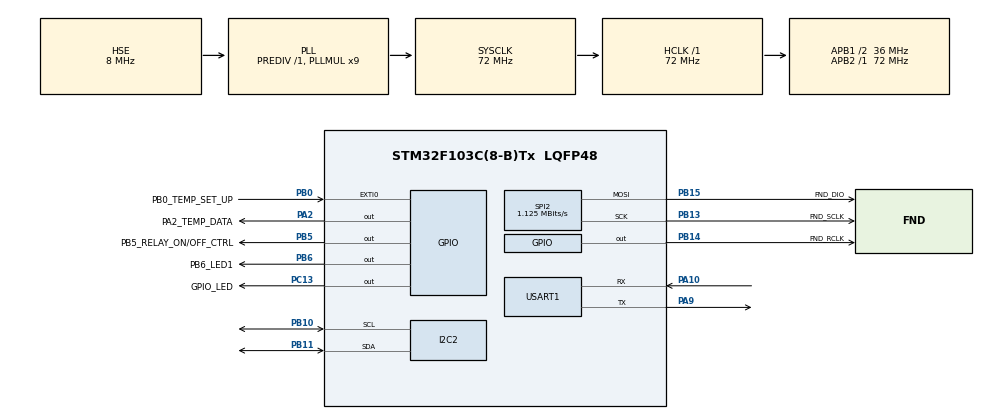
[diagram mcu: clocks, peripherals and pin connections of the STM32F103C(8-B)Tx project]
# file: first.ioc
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I2C2.DualAddressMode=I2C_DUALADDRESS_DISABLE
I2C2.I2C_Mode=I2C_Fast
I2C2.OwnAddress=0
Mcu.Family=STM32F1
Mcu.Name=STM32F103C(8-B)Tx
Mcu.Package=LQFP48
NVIC.EXTI0_IRQn=true\:3\:0\:true\:false\:true\:true\:true\:true
NVIC.PriorityGroup=NVIC_PRIORITYGROUP_4
NVIC.TIM2_IRQn=true\:0\:0\:false\:false\:true\:true\:true\:true
NVIC.TIM3_IRQn=true\:10\:0\:true\:false\:true\:true\:true\:true
PA10.Mode=Asynchronous
PA10.Signal=USART1_RX
PA2.GPIO_Label=PA2_TEMP_DATA
PA2.GPIO_PuPd=GPIO_PULLUP
PA2.GPIO_Speed=GPIO_SPEED_FREQ_HIGH
PA2.PinState=GPIO_PIN_SET
PA2.Signal=GPIO_Output
PA9.Mode=Asynchronous
PA9.Signal=USART1_TX
PB0.GPIO_Label=PB0_TEMP_SET_UP
PB0.GPIO_ModeDefaultEXTI=GPIO_MODE_IT_FALLING
PB0.GPIO_PuPd=GPIO_PULLUP
PB0.Signal=GPXTI0
PB10.Mode=I2C
PB10.Signal=I2C2_SCL
PB11.Mode=I2C
PB11.Signal=I2C2_SDA
PB13.GPIO_Label=FND_SCLK
PB13.Mode=TX_Only_Simplex_Unidirect_Master
PB13.Signal=SPI2_SCK
PB14.GPIO_Label=FND_RCLK
PB14.GPIO_PuPd=GPIO_PULLUP
PB14.GPIO_Speed=GPIO_SPEED_FREQ_HIGH
PB14.PinState=GPIO_PIN_SET
PB14.Signal=GPIO_Output
PB15.GPIO_Label=FND_DIO
PB15.Mode=TX_Only_Simplex_Unidirect_Master
PB15.Signal=SPI2_MOSI
PB5.GPIO_Label=PB5_RELAY_ON/OFF_CTRL
PB5.GPIO_PuPd=GPIO_PULLUP
PB5.GPIO_Speed=GPIO_SPEED_FREQ_HIGH
PB5.PinState=GPIO_PIN_SET
PB5.Signal=GPIO_Output
PB6.GPIO_Label=PB6_LED1
PB6.GPIO_Speed=GPIO_SPEED_FREQ_HIGH
PB6.PinState=GPIO_PIN_SET
PB6.Signal=GPIO_Output
PC13-TAMPER-RTC.GPIO_Label=GPIO_LED
PC13-TAMPER-RTC.GPIO_PuPd=GPIO_PULLDOWN
PC13-TAMPER-RTC.GPIO_Speed=GPIO_SPEED_FREQ_HIGH
PC13-TAMPER-RTC.PinState=GPIO_PIN_SET
PC13-TAMPER-RTC.Signal=GPIO_Output
PC14-OSC32_IN.Mode=LSE-External-Oscillator
PC14-OSC32_IN.Signal=RCC_OSC32_IN
PC15-OSC32_OUT.Mode=LSE-External-Oscillator
PC15-OSC32_OUT.Signal=RCC_OSC32_OUT
PD0-OSC_IN.Mode=HSE-External-Oscillator
PD0-OSC_IN.Signal=RCC_OSC_IN
PD1-OSC_OUT.Mode=HSE-External-Oscillator
PD1-OSC_OUT.Signal=RCC_OSC_OUT
ProjectManager.HeapSize=0x200
ProjectManager.StackSize=0x400
ProjectManager.TargetToolchain=STM32CubeIDE
RCC.AHBFreq_Value=72000000
RCC.APB1CLKDivider=RCC_HCLK_DIV2
RCC.APB1Freq_Value=36000000
RCC.APB1TimFreq_Value=72000000
RCC.APB2Freq_Value=72000000
RCC.APB2TimFreq_Value=72000000
RCC.HCLKFreq_Value=72000000
RCC.PLLMUL=RCC_PLL_MUL9
RCC.PLLSourceVirtual=RCC_PLLSOURCE_HSE
RCC.SYSCLKFreq_VALUE=72000000
RCC.SYSCLKSource=RCC_SYSCLKSOURCE_PLLCLK
RCC.USBFreq_Value=72000000
SPI2.BaudRatePrescaler=SPI_BAUDRATEPRESCALER_32
SPI2.CLKPhase=SPI_PHASE_2EDGE
SPI2.CLKPolarity=SPI_POLARITY_HIGH
SPI2.CalculateBaudRate=1.125 MBits/s
SPI2.Direction=SPI_DIRECTION_2LINES
SPI2.Mode=SPI_MODE_MASTER
SPI2.VirtualType=VM_MASTER
TIM2.AutoReloadPreload=TIM_AUTORELOAD_PRELOAD_DISABLE
TIM2.Period=65535
TIM2.Prescaler=(72-1)
TIM3.Period=50-1
TIM3.Prescaler=72-1
USART1.VirtualMode=VM_ASYNC
VP_TIM2_VS_ClockSourceINT.Mode=Internal
VP_TIM3_VS_ClockSourceINT.Mode=Internal
board=custom

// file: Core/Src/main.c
/* USER CODE BEGIN Header */
/**
  ******************************************************************************
  * @file           : main.c
  * @brief          : Main program body
  ******************************************************************************
  * @attention
  *
  * Copyright (c) 2023 STMicroelectronics.
  * All rights reserved.
  *
  * This software is licensed under terms that can be found in the LICENSE file
  * in the root directory of this software component.
  * If no LICENSE file comes with this software, it is provided AS-IS.
  *
  ******************************************************************************
  */
/* USER CODE END Header */
#include "main.h"

/* USER CODE BEGIN Includes */
#include <stdio.h>
#include "fnd_controller.h"
#include "ds18b20.h"
#include "heaterController.h"
#include "fonts.h"
#include "ssd1306.h"
#include "test.h"
#include "bitmap.h"
#include "horse_anim.h"
#include "g_var.h"
#include "OledController.h"
/* USER CODE END Includes */

/* USER CODE BEGIN PTD */
#include <stdio.h>

/* USER CODE END PTD */

I2C_HandleTypeDef hi2c2;

SPI_HandleTypeDef hspi2;

TIM_HandleTypeDef htim2;
TIM_HandleTypeDef htim3;

UART_HandleTypeDef huart1;

/* USER CODE BEGIN PV */
int _write(int file,char * p, int len){
	HAL_UART_Transmit(&huart1, (uint8_t *)p, len, 10);
	return len;
}

/* USER CODE END PV */

void SystemClock_Config(void);
static void MX_GPIO_Init(void);
static void MX_USART1_UART_Init(void);
static void MX_TIM2_Init(void);
static void MX_TIM3_Init(void);
static void MX_I2C2_Init(void);
static void MX_SPI2_Init(void);

int main(void)
{
  /* USER CODE BEGIN 1 */

	float temper  =0.0;
  /* USER CODE END 1 */

  /* MCU Configuration--------------------------------------------------------*/

  /* Reset of all peripherals, Initializes the Flash interface and the Systick. */
  HAL_Init();

  /* Configure the system clock */
  SystemClock_Config();

  /* Initialize all configured peripherals */
  MX_GPIO_Init();
  MX_USART1_UART_Init();
  MX_TIM2_Init();
  MX_TIM3_Init();
  MX_I2C2_Init();
  MX_SPI2_Init();
  /* USER CODE BEGIN 2 */
  //HAL_TIM_Base_Start_IT(&htim2);
  init_fnd(&hspi2);
  HAL_TIM_Base_Start_IT(&htim3);
  //Ds18b20_Init();
  Ds18b20_Init_Simple();
  SSD1306_Init();

  opening();

  /* USER CODE END 2 */

  /* Infinite loop */
  /* USER CODE BEGIN WHILE */
  //PC13 set/reset register address
  /*
  volatile unsigned int * reg3 = 0x40011010;
  char senddata[20] = "Hello World\r\n";
  */
  while (1)
  {

	  checkButton();

	  if(!isConverting()){
	  StartConverting();
	  }
	  checkConverting();

	  if(!isConverting()){
		  temper = getTemper();
	  }

	  HAL_Delay(10);

    /* USER CODE END WHILE */

  }
}

void SystemClock_Config(void)
{
  RCC_OscInitTypeDef RCC_OscInitStruct = {0};
  RCC_ClkInitTypeDef RCC_ClkInitStruct = {0};

  /** Initializes the RCC Oscillators according to the specified parameters
  * in the RCC_OscInitTypeDef structure.
  */
  RCC_OscInitStruct.OscillatorType = RCC_OSCILLATORTYPE_HSE;
  RCC_OscInitStruct.HSEState = RCC_HSE_ON;
  RCC_OscInitStruct.HSEPredivValue = RCC_HSE_PREDIV_DIV1;
  RCC_OscInitStruct.HSIState = RCC_HSI_ON;
  RCC_OscInitStruct.PLL.PLLState = RCC_PLL_ON;
  RCC_OscInitStruct.PLL.PLLSource = RCC_PLLSOURCE_HSE;
  RCC_OscInitStruct.PLL.PLLMUL = RCC_PLL_MUL9;
  if (HAL_RCC_OscConfig(&RCC_OscInitStruct) != HAL_OK)
  {
    Error_Handler();
  }

  /** Initializes the CPU, AHB and APB buses clocks
  */
  RCC_ClkInitStruct.ClockType = RCC_CLOCKTYPE_HCLK|RCC_CLOCKTYPE_SYSCLK
                              |RCC_CLOCKTYPE_PCLK1|RCC_CLOCKTYPE_PCLK2;
  RCC_ClkInitStruct.SYSCLKSource = RCC_SYSCLKSOURCE_PLLCLK;
  RCC_ClkInitStruct.AHBCLKDivider = RCC_SYSCLK_DIV1;
  RCC_ClkInitStruct.APB1CLKDivider = RCC_HCLK_DIV2;
  RCC_ClkInitStruct.APB2CLKDivider = RCC_HCLK_DIV1;

  if (HAL_RCC_ClockConfig(&RCC_ClkInitStruct, FLASH_LATENCY_2) != HAL_OK)
  {
    Error_Handler();
  }
}

static void MX_I2C2_Init(void)
{

  hi2c2.Instance = I2C2;
  hi2c2.Init.ClockSpeed = 400000;
  hi2c2.Init.DutyCycle = I2C_DUTYCYCLE_2;
  hi2c2.Init.OwnAddress1 = 0;
  hi2c2.Init.AddressingMode = I2C_ADDRESSINGMODE_7BIT;
  hi2c2.Init.DualAddressMode = I2C_DUALADDRESS_DISABLE;
  hi2c2.Init.OwnAddress2 = 0;
  hi2c2.Init.GeneralCallMode = I2C_GENERALCALL_DISABLE;
  hi2c2.Init.NoStretchMode = I2C_NOSTRETCH_DISABLE;
  if (HAL_I2C_Init(&hi2c2) != HAL_OK)
  {
    Error_Handler();
  }

}

static void MX_SPI2_Init(void)
{

  /* SPI2 parameter configuration*/
  hspi2.Instance = SPI2;
  hspi2.Init.Mode = SPI_MODE_MASTER;
  hspi2.Init.Direction = SPI_DIRECTION_2LINES;
  hspi2.Init.DataSize = SPI_DATASIZE_8BIT;
  hspi2.Init.CLKPolarity = SPI_POLARITY_HIGH;
  hspi2.Init.CLKPhase = SPI_PHASE_2EDGE;
  hspi2.Init.NSS = SPI_NSS_SOFT;
  hspi2.Init.BaudRatePrescaler = SPI_BAUDRATEPRESCALER_32;
  hspi2.Init.FirstBit = SPI_FIRSTBIT_MSB;
  hspi2.Init.TIMode = SPI_TIMODE_DISABLE;
  hspi2.Init.CRCCalculation = SPI_CRCCALCULATION_DISABLE;
  hspi2.Init.CRCPolynomial = 10;
  if (HAL_SPI_Init(&hspi2) != HAL_OK)
  {
    Error_Handler();
  }

}

static void MX_TIM2_Init(void)
{

  TIM_ClockConfigTypeDef sClockSourceConfig = {0};
  TIM_MasterConfigTypeDef sMasterConfig = {0};

  htim2.Instance = TIM2;
  htim2.Init.Prescaler = (72-1);
  htim2.Init.CounterMode = TIM_COUNTERMODE_UP;
  htim2.Init.Period = 65535;
  htim2.Init.ClockDivision = TIM_CLOCKDIVISION_DIV1;
  htim2.Init.AutoReloadPreload = TIM_AUTORELOAD_PRELOAD_DISABLE;
  if (HAL_TIM_Base_Init(&htim2) != HAL_OK)
  {
    Error_Handler();
  }
  sClockSourceConfig.ClockSource = TIM_CLOCKSOURCE_INTERNAL;
  if (HAL_TIM_ConfigClockSource(&htim2, &sClockSourceConfig) != HAL_OK)
  {
    Error_Handler();
  }
  sMasterConfig.MasterOutputTrigger = TIM_TRGO_RESET;
  sMasterConfig.MasterSlaveMode = TIM_MASTERSLAVEMODE_DISABLE;
  if (HAL_TIMEx_MasterConfigSynchronization(&htim2, &sMasterConfig) != HAL_OK)
  {
    Error_Handler();
  }

}

static void MX_TIM3_Init(void)
{

  TIM_ClockConfigTypeDef sClockSourceConfig = {0};
  TIM_MasterConfigTypeDef sMasterConfig = {0};

  htim3.Instance = TIM3;
  htim3.Init.Prescaler = 72-1;
  htim3.Init.CounterMode = TIM_COUNTERMODE_UP;
  htim3.Init.Period = 50-1;
  htim3.Init.ClockDivision = TIM_CLOCKDIVISION_DIV1;
  htim3.Init.AutoReloadPreload = TIM_AUTORELOAD_PRELOAD_DISABLE;
  if (HAL_TIM_Base_Init(&htim3) != HAL_OK)
  {
    Error_Handler();
  }
  sClockSourceConfig.ClockSource = TIM_CLOCKSOURCE_INTERNAL;
  if (HAL_TIM_ConfigClockSource(&htim3, &sClockSourceConfig) != HAL_OK)
  {
    Error_Handler();
  }
  sMasterConfig.MasterOutputTrigger = TIM_TRGO_RESET;
  sMasterConfig.MasterSlaveMode = TIM_MASTERSLAVEMODE_DISABLE;
  if (HAL_TIMEx_MasterConfigSynchronization(&htim3, &sMasterConfig) != HAL_OK)
  {
    Error_Handler();
  }

}

static void MX_USART1_UART_Init(void)
{

  huart1.Instance = USART1;
  huart1.Init.BaudRate = 115200;
  huart1.Init.WordLength = UART_WORDLENGTH_8B;
  huart1.Init.StopBits = UART_STOPBITS_1;
  huart1.Init.Parity = UART_PARITY_NONE;
  huart1.Init.Mode = UART_MODE_TX_RX;
  huart1.Init.HwFlowCtl = UART_HWCONTROL_NONE;
  huart1.Init.OverSampling = UART_OVERSAMPLING_16;
  if (HAL_UART_Init(&huart1) != HAL_OK)
  {
    Error_Handler();
  }

}

static void MX_GPIO_Init(void)
{
  GPIO_InitTypeDef GPIO_InitStruct = {0};

  /* GPIO Ports Clock Enable */
  __HAL_RCC_GPIOC_CLK_ENABLE();
  __HAL_RCC_GPIOD_CLK_ENABLE();
  __HAL_RCC_GPIOA_CLK_ENABLE();
  __HAL_RCC_GPIOB_CLK_ENABLE();

  /*Configure GPIO pin Output Level */
  HAL_GPIO_WritePin(GPIO_LED_GPIO_Port, GPIO_LED_Pin, GPIO_PIN_SET);

  /*Configure GPIO pin Output Level */
  HAL_GPIO_WritePin(PA2_TEMP_DATA_GPIO_Port, PA2_TEMP_DATA_Pin, GPIO_PIN_SET);

  /*Configure GPIO pin Output Level */
  HAL_GPIO_WritePin(GPIOB, FND_RCLK_Pin|PB5_RELAY_ON_OFF_CTRL_Pin|PB6_LED1_Pin, GPIO_PIN_SET);

  /*Configure GPIO pin : GPIO_LED_Pin */
  GPIO_InitStruct.Pin = GPIO_LED_Pin;
  GPIO_InitStruct.Mode = GPIO_MODE_OUTPUT_PP;
  GPIO_InitStruct.Pull = GPIO_PULLDOWN;
  GPIO_InitStruct.Speed = GPIO_SPEED_FREQ_HIGH;
  HAL_GPIO_Init(GPIO_LED_GPIO_Port, &GPIO_InitStruct);

  /*Configure GPIO pin : PA2_TEMP_DATA_Pin */
  GPIO_InitStruct.Pin = PA2_TEMP_DATA_Pin;
  GPIO_InitStruct.Mode = GPIO_MODE_OUTPUT_PP;
  GPIO_InitStruct.Pull = GPIO_PULLUP;
  GPIO_InitStruct.Speed = GPIO_SPEED_FREQ_HIGH;
  HAL_GPIO_Init(PA2_TEMP_DATA_GPIO_Port, &GPIO_InitStruct);

  /*Configure GPIO pin : PB0_TEMP_SET_UP_Pin */
  GPIO_InitStruct.Pin = PB0_TEMP_SET_UP_Pin;
  GPIO_InitStruct.Mode = GPIO_MODE_IT_FALLING;
  GPIO_InitStruct.Pull = GPIO_PULLUP;
  HAL_GPIO_Init(PB0_TEMP_SET_UP_GPIO_Port, &GPIO_InitStruct);

  /*Configure GPIO pins : FND_RCLK_Pin PB5_RELAY_ON_OFF_CTRL_Pin */
  GPIO_InitStruct.Pin = FND_RCLK_Pin|PB5_RELAY_ON_OFF_CTRL_Pin;
  GPIO_InitStruct.Mode = GPIO_MODE_OUTPUT_PP;
  GPIO_InitStruct.Pull = GPIO_PULLUP;
  GPIO_InitStruct.Speed = GPIO_SPEED_FREQ_HIGH;
  HAL_GPIO_Init(GPIOB, &GPIO_InitStruct);

  /*Configure GPIO pin : PB6_LED1_Pin */
  GPIO_InitStruct.Pin = PB6_LED1_Pin;
  GPIO_InitStruct.Mode = GPIO_MODE_OUTPUT_PP;
  GPIO_InitStruct.Pull = GPIO_NOPULL;
  GPIO_InitStruct.Speed = GPIO_SPEED_FREQ_HIGH;
  HAL_GPIO_Init(PB6_LED1_GPIO_Port, &GPIO_InitStruct);

  /* EXTI interrupt init*/
  HAL_NVIC_SetPriority(EXTI0_IRQn, 3, 0);
  HAL_NVIC_EnableIRQ(EXTI0_IRQn);

}

void Error_Handler(void)
{
  __disable_irq();
  while (1)
  {
  }
}
